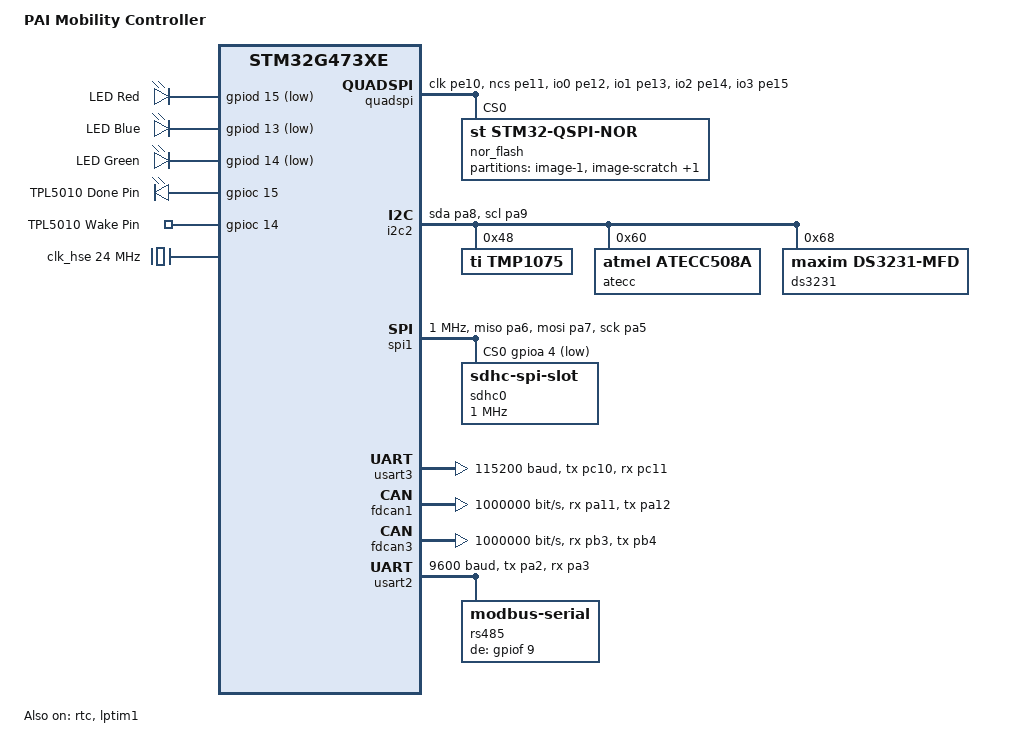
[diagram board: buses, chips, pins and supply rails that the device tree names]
/*
 * Copyright (c) 2023 Andreas Sandberg
 *
 * SPDX-License-Identifier: Apache-2.0
 */

/dts-v1/;
#include <st/g4/stm32g473Xe.dtsi>
#include <st/g4/stm32g473v(b-c-e)hx-pinctrl.dtsi>

/ {
	model = "PAI Mobility Controller";
	compatible = "powerlabs,pai-mobility-controller";

	chosen {
		zephyr,console = &usart3;
		zephyr,shell-uart = &usart3;
		zephyr,sram = &sram0;
		zephyr,flash = &flash0;
	};

	aliases {
		can-device = &fdcan3;
		watchdog0 = &iwdg;
		led0 = &led_red;
	};

	leds {
		compatible = "gpio-leds";

		led_red: led_red {
			gpios = <&gpiod 15 GPIO_ACTIVE_LOW>;
			label = "LED Red";
		};

		led_blue: led_blue {
			gpios = <&gpiod 13 GPIO_ACTIVE_LOW>;
			label = "LED Blue";
		};

		led_green: led_green {
			gpios = <&gpiod 14 GPIO_ACTIVE_LOW>;
			label = "LED Green";
		};
	};

	tpl5010 {
		done_pin{
			compatible = "gpio-leds";
			status = "okay";
			tpl5010_done_pin: tpl5010_done_pin {
				gpios = <&gpioc 15 GPIO_ACTIVE_HIGH>;
				label = "TPL5010 Done Pin";
			};
		};

		wake_pin {
			compatible = "gpio-keys";
			status = "okay";
			tpl5010_wake_pin: tpl5010_wake_pin {
				gpios = <&gpioc 14 GPIO_ACTIVE_HIGH>;
				label = "TPL5010 Wake Pin";
			};
		};
	};
};

&clk_lsi {
	status = "okay";
};

&clk_lse {
	status = "disabled";
};

&clk_hsi {
	status = "disabled";
};

&clk_hse {
	status = "okay";
	clock-frequency = <DT_FREQ_M(24)>;
};

/** PLLCLK is the core clock at 144MHz, shared by AHB and APB1. APB2 is halved:
 * SD card init needs 100-400 kHz and SPI1 can only divide PCLK2 by 256.
 */
&rcc {
	status = "okay";
	clocks = <&pll>;
	clock-frequency = <DT_FREQ_M(144)>;
	ahb-prescaler = <1>;
	apb1-prescaler = <1>;
	apb2-prescaler = <2>;
};

/** Using the 24MHz external crystal, we can use the following PLL settings to
 * PLLCLK to 144MHz
 * PLLQ to 48MHz
 * PLLR to 144MHz
*/
&pll {
	status = "okay";
	div-m = <6>;
	mul-n = <72>;
	div-p = <2>;
	div-q = <6>;
	div-r = <2>;
	clocks = <&clk_hse>;
};

&rtc {
	status = "okay";
	clocks = <&rcc STM32_CLOCK(APB1, 10)>,
		 <&rcc STM32_SRC_LSI RTC_SEL(2)>;
};

stm32_lp_tick_source: &lptim1 {
	status = "okay";
	clocks = <&rcc STM32_CLOCK(APB1, 31)>,
		 <&rcc STM32_SRC_LSI LPTIM1_SEL(2)>;
};

&iwdg {
	status = "disabled";
};

&flash0 {
	partitions {
		compatible = "fixed-partitions";
		#address-cells = <1>;
		#size-cells = <1>;

		boot_partition: partition@0 {
			label = "mcuboot";
			reg = <0x00000000 DT_SIZE_K(56)>;
			read-only;
		};

		slot0_partition: partition@e000 {
			label = "image-0";
			reg = <0x0000e000 DT_SIZE_K(452)>;
		};

		/* 4KiB of storage at the end of the 512KiB FLASH */
		storage_partition: partition@7f000 {
			label = "storage";
			reg = <0x0007f000 DT_SIZE_K(4)>;
		};
	};
};

/* W25Q128JVS, 128 Mbit NOR on QUADSPI1 bank 1. */
&quadspi {
	pinctrl-0 = <&quadspi1_clk_pe10 &quadspi1_bk1_ncs_pe11
		     &quadspi1_bk1_io0_pe12 &quadspi1_bk1_io1_pe13
		     &quadspi1_bk1_io2_pe14 &quadspi1_bk1_io3_pe15>;
	pinctrl-names = "default";
	status = "okay";

	nor_flash: qspi-nor-flash@0 {
		compatible = "st,stm32-qspi-nor";
		reg = <0>;
		size = <DT_SIZE_M(128)>; /* 128 Mbit */
		qspi-max-frequency = <50000000>;
		spi-bus-width = <4>;
		writeoc = "PP_1_1_4";
		status = "okay";

		partitions {
			compatible = "fixed-partitions";
			#address-cells = <1>;
			#size-cells = <1>;

			slot1_partition: partition@0 {
				label = "image-1";
				reg = <0x00000000 DT_SIZE_K(452)>;
			};

			/* One swap chunk at a time. 64KiB keeps a 452KiB swap to 8
			 * passes, and spreads the wear. */
			scratch_partition: partition@71000 {
				label = "image-scratch";
				reg = <0x00071000 DT_SIZE_K(64)>;
			};

			/* Boot record for the OTA session. */
			fota_record_partition: partition@81000 {
				label = "fota-record";
				reg = <0x00081000 DT_SIZE_K(4)>;
			};
		};
	};
};

&i2c2 {
	status = "okay";
	pinctrl-0 = <&i2c2_sda_pa8 &i2c2_scl_pa9>;
	pinctrl-names = "default";

	tmp1075: tmp1075@48 {
		compatible = "ti,tmp1075";
		friendly-name = "texas_temperature_tmp1075";
		reg = <0x48>;
		conversion-rate = <220000>;
		lower-threshold = <27>;
		upper-threshold = <28>;
		consecutive-fault-measurements = <4>;
	};

	atecc: atecc@60 {
		compatible = "atmel,atecc508a";
		reg = <0x60>;
		status = "okay";
	};

	ds3231: ds3231@68 {
		compatible = "maxim,ds3231-mfd";
		reg = <0x68>;
		status = "okay";

		ds3231_sensor: ds3231_sensor {
			compatible = "maxim,ds3231-sensor";
			status = "okay";
		};

		ds3231_rtc: ds3231_rtc {
			compatible = "maxim,ds3231-rtc";
			status = "okay";
			isw-gpios = <&gpioc 7 (GPIO_PULL_UP | GPIO_ACTIVE_LOW)>;
		};
	};
};

/* MicroSD over SPI1, CS on PA4 as a GPIO. */
&spi1 {
	status = "okay";
	pinctrl-0 = <&spi1_miso_pa6 &spi1_mosi_pa7 &spi1_sck_pa5>;
	pinctrl-names = "default";
	cs-gpios = <&gpioa 4 GPIO_ACTIVE_LOW>;
	clock-frequency = <1000000>;

	sdhc0: sdhc@0 {
		compatible = "zephyr,sdhc-spi-slot";
		reg = <0>;
		status = "okay";
		spi-max-frequency = <1000000>;

		mmc {
			compatible = "zephyr,sdmmc-disk";
			status = "okay";
			disk-name = "SD";
		};
	};
};

usart_console: &usart3 {
	status = "okay";
	pinctrl-0 = <&usart3_tx_pc10 &usart3_rx_pc11>;
	pinctrl-names = "default";
	current-speed = <115200>;
};

&fdcan1 {
	status = "okay";
	bitrate = <1000000>;
	/** Using PLLQ as the clock source for FDCAN1,
	* We can set the clock divider to 12 to achieve a 4MHz clock for the time quanta.
	*/
	clocks = <&rcc STM32_CLOCK(APB1, 25)>, <&rcc STM32_SRC_PLL_Q FDCAN_SEL(1)>;
	pinctrl-0 = <&fdcan1_rx_pa11 &fdcan1_tx_pa12>;
	pinctrl-names = "default";
	//! Clock divider shouldn't be set for any other fdcan instance than fdcan1, as all other instances will use the same clock source as fdcan1, and the divider will be applied to all of them.
	// No divider is set, time quanta will be se to 48MHz as the clock source is PLLQ, which is 48MHz. This will result in a time quanta of 1/48MHz = 20.833ns, which is the minimum time quanta for FDCAN.
	clk-divider= <1>;
	sample-point = <875>;

};

&fdcan3 {
	status = "okay";
	bitrate = <1000000>;
	/** PLLQ at 48MHz is the FDCAN kernel clock, giving a 20.833ns time quantum.
	*/
	clocks = <&rcc STM32_CLOCK(APB1, 25)>, <&rcc STM32_SRC_PLL_Q FDCAN_SEL(1)>;
	pinctrl-0 = <&fdcan3_rx_pb3 &fdcan3_tx_pb4>;
	pinctrl-names = "default";
	//! Clock divider shouldn't be set for any other fdcan instance than fdcan1, as all other instances will use the same clock source as fdcan1, and the divider will be applied to all of them.
	/** clk-divider= <1>; */
	sample-point-data = <875>;

};

usart_rs485: &usart2 {
	status = "okay";
	pinctrl-0 = <&usart2_tx_pa2 &usart2_rx_pa3>;
	pinctrl-names = "default";
	current-speed = <9600>;
	rs485: rs485 {
		status = "okay";
		compatible = "zephyr,modbus-serial";
		de-gpios = <&gpiof 9 GPIO_ACTIVE_HIGH>;
	};

};
